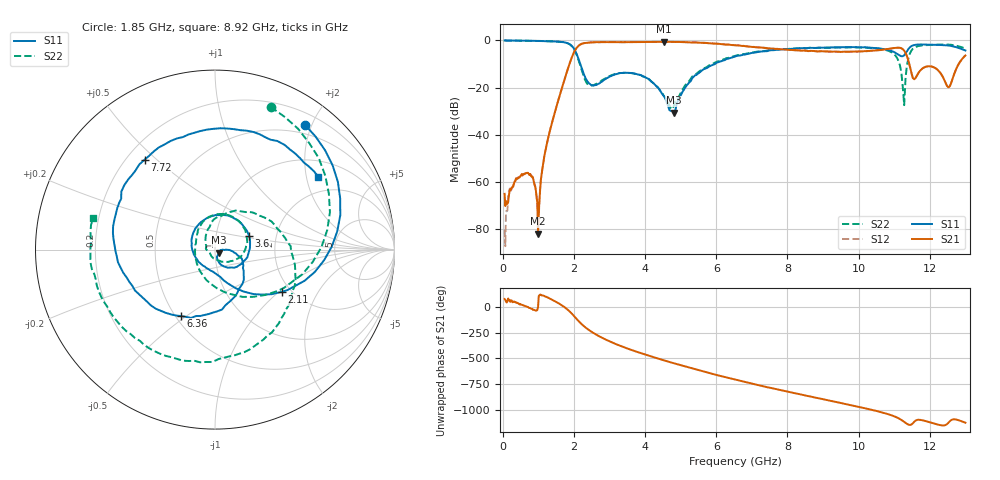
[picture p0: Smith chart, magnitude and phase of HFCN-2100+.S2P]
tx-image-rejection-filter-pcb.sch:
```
<Qucs Schematic 0.0.20>
<Properties>
  <View=0,31,2924,1898,0.620923,0,360>
  <Grid=10,10,1>
  <DataSet=tx-image-rejection-filter-pcb.dat>
  <DataDisplay=tx-image-rejection-filter-pcb.dpl>
  <OpenDisplay=1>
  <Script=tx-image-rejection-filter-pcb.m>
  <RunScript=0>
  <showFrame=0>
  <FrameText0=Title>
  <FrameText1=Drawn By:>
  <FrameText2=Date:>
  <FrameText3=Revision:>
</Properties>
<Symbol>
</Symbol>
<Components>
  <MLIN MS3 1 750 690 -26 -91 1 0 "FR4" 1 "0.32 mm" 1 "1 mm" 1 "Hammerstad" 0 "Kirschning" 0 "26.85" 0>
  <MLIN MS5 1 700 770 -95 -26 1 1 "FR4" 1 "0.32 mm" 1 "1.1 mm" 1 "Hammerstad" 0 "Kirschning" 0 "26.85" 0>
  <MLIN MS6 1 700 920 -95 -26 1 1 "FR4" 1 "0.32 mm" 1 "0.8 mm" 1 "Hammerstad" 0 "Kirschning" 0 "26.85" 0>
  <MLIN MS10 1 1510 690 -26 -91 1 0 "FR4" 1 "0.32 mm" 1 "1 mm" 1 "Hammerstad" 0 "Kirschning" 0 "26.85" 0>
  <MLIN MS12 1 1440 760 -95 -26 1 1 "FR4" 1 "0.32 mm" 1 "1.1 mm" 1 "Hammerstad" 0 "Kirschning" 0 "26.85" 0>
  <MLIN MS15 1 1220 690 -26 -91 1 0 "FR4" 1 "0.32 mm" 1 "1 mm" 1 "Hammerstad" 0 "Kirschning" 0 "26.85" 0>
  <MLIN MS16 1 1170 770 -95 -26 1 1 "FR4" 1 "0.32 mm" 1 "1.1mm" 1 "Hammerstad" 0 "Kirschning" 0 "26.85" 0>
  <L L2 1 1580 690 -26 10 0 0 "L1" 1 "" 0>
  <C C1 1 700 850 17 -26 0 1 "C1" 1 "" 0 "neutral" 0>
  <MLIN MS18 1 940 760 -95 -26 1 1 "FR4" 1 "0.32 mm" 1 "1.1 mm" 1 "Hammerstad" 0 "Kirschning" 0 "26.85" 0>
  <MVIA MS19 1 720 1030 20 0 0 0 "FR4" 1 "0.4 mm" 1 "26.85" 0>
  <MVIA MS20 1 960 1030 20 0 0 0 "FR4" 1 "0.4 mm" 1 "26.85" 0>
  <MVIA MS21 1 1190 1030 20 0 0 0 "FR4" 1 "0.4 mm" 1 "26.85" 0>
  <MVIA MS22 1 1460 1030 20 0 0 0 "FR4" 1 "0.4 mm" 1 "26.85" 0>
  <L L1 1 580 690 -26 10 0 0 "L1" 1 "" 0>
  <L L3 1 850 690 -26 10 0 0 "L2" 1 "" 0>
  <L L4 1 1080 690 -26 10 0 0 "L2" 1 "" 0>
  <L L5 1 1320 690 -26 10 0 0 "L2" 1 "" 0>
  <MLIN MS13 1 940 920 -95 -26 1 1 "FR4" 1 "0.32 mm" 1 "0.8 mm" 1 "Hammerstad" 0 "Kirschning" 0 "26.85" 0>
  <C C3 1 940 850 17 -26 0 1 "C2" 1 "" 0 "neutral" 0>
  <MLIN MS17 1 1170 930 -95 -26 1 1 "FR4" 1 "0.32 mm" 1 "0.8 mm" 1 "Hammerstad" 0 "Kirschning" 0 "26.85" 0>
  <C C4 1 1170 860 17 -26 0 1 "C2" 1 "" 0 "neutral" 0>
  <MLIN MS7 1 1440 930 -95 -26 1 1 "FR4" 1 "0.32 mm" 1 "0.8 mm" 1 "Hammerstad" 0 "Kirschning" 0 "26.85" 0>
  <C C2 1 1440 860 17 -26 0 1 "C1" 1 "" 0 "neutral" 0>
  <MLIN MS8 1 990 690 -26 -91 1 0 "FR4" 1 "0.32 mm" 1 "1 mm" 1 "Hammerstad" 0 "Kirschning" 0 "26.85" 0>
  <Eqn Eqn1 1 970 440 -28 15 0 0 "S21_dB=dB(S[2,1])" 1 "S11_dB=dB(S[1,1])" 1 "yes" 0>
  <.SP SP1 1 380 320 0 75 0 0 "log" 1 "100 MHz" 1 "3000 MHz" 1 "400" 1 "no" 0 "1" 0 "2" 0 "no" 0 "no" 0>
  <.Opt Opt1 0 760 330 0 38 0 0 "Sim=SP1" 0 "DE=8|700|2|50|0.85|1|3|1e-6|10|100" 0 "Var=L1|yes|3.86e-09|1e-9|20e-9|LIN_DOUBLE" 0 "Var=L2|yes|6.78e-09|1e-9|20e-9|LIN_DOUBLE" 0 "Var=C1|yes|1.57e-12|0.5e-12|3e-12|LIN_DOUBLE" 0 "Var=C2|yes|1.75e-12|0.5e-12|3e-12|LIN_DOUBLE" 0 "Goal=ripple|GE|-1" 0 "Goal=roll_off|LE|-28" 0>
  <Pac P2 1 1930 750 18 -26 0 1 "2" 1 "50 Ohm" 1 "-100 dBm" 0 "2220 MHz" 0 "26.85" 0>
  <GND *2 5 1930 820 0 0 0 0>
  <Eqn Eqn2 1 970 340 -31 15 0 0 "ripple=min(dB(S[2,1]), 2200e06:2290e06)" 1 "roll_off=max(dB(S[2,1]), 2600e06:2700e06)" 1 "yes" 0>
  <Pac P1 1 270 750 -94 -26 1 1 "1" 1 "50 Ohm" 1 "-10 dBm" 0 "2220 MHz" 0 "26.85" 0>
  <GND *1 5 270 820 0 0 0 0>
  <GND * 4 380 820 0 0 0 0>
  <MLIN MS1 1 500 690 -26 -91 1 0 "FR4" 1 "0.32 mm" 1 "1.3 mm" 1 "Hammerstad" 0 "Kirschning" 0 "26.85" 0>
  <SPfile X1 2 380 690 -26 -59 0 0 "HFCN-2100+.S2P" 0 "rectangular" 0 "linear" 0 "open" 0 "2" 0>
  <.SW SW3 1 950 60 0 61 0 0 "SW2" 1 "list" 1 "C2" 1 "5 Ohm" 0 "50 Ohm" 0 "[1.65pF;1.7pF;1.75pF]" 1>
  <Eqn OptValues4 0 1320 380 -28 15 0 0 "L1=3.8E-09" 1 "L2=6.8E-09" 1 "C1=1.5E-12" 1 "C2=1.7E-12" 1 "yes" 0>
  <.SW SW4 1 1230 60 0 61 0 0 "SW3" 1 "list" 1 "L2" 1 "5 Ohm" 0 "50 Ohm" 0 "[5.5 nH; 5.6nH; 5.7nH ]" 1>
  <.SW SW1 1 440 60 0 61 0 0 "SP1" 1 "list" 1 "L1" 1 "5 Ohm" 0 "50 Ohm" 0 "[2.6 nH; 2.7nH; 2.8nH ]" 1>
  <.SW SW2 1 690 60 0 61 0 0 "SW1" 1 "list" 1 "C1" 1 "5 Ohm" 0 "50 Ohm" 0 "[1.45pF;1.5pF;1.55pF]" 1>
  <SUBST FR4 1 620 360 -30 24 0 0 "4.3" 1 "0.18mm" 1 "0.035 mm" 1 "0.015" 1 "1.72e-8" 1 "0" 1>
  <MLIN MS11 1 1760 690 -26 -91 1 0 "FR4" 1 "0.32 mm" 1 "2.5 mm" 1 "Hammerstad" 0 "Kirschning" 0 "26.85" 0>
  <Eqn OptValues5 0 1450 380 -28 15 0 0 "L1=2.7E-09" 1 "L2=5.6E-09" 1 "C1=1.5E-12" 1 "C2=1.7E-12" 1 "yes" 0>
</Components>
<Wires>
  <700 880 700 890 "" 0 0 0 "">
  <700 800 700 820 "" 0 0 0 "">
  <700 950 700 1030 "" 0 0 0 "">
  <700 690 700 740 "" 0 0 0 "">
  <700 690 720 690 "" 0 0 0 "">
  <1440 690 1480 690 "" 0 0 0 "">
  <1440 690 1440 730 "" 0 0 0 "">
  <940 690 940 730 "" 0 0 0 "">
  <1170 690 1190 690 "" 0 0 0 "">
  <1170 690 1170 740 "" 0 0 0 "">
  <1540 690 1550 690 "" 0 0 0 "">
  <610 690 700 690 "" 0 0 0 "">
  <880 690 940 690 "" 0 0 0 "">
  <780 690 820 690 "" 0 0 0 "">
  <1110 690 1170 690 "" 0 0 0 "">
  <1350 690 1440 690 "" 0 0 0 "">
  <1250 690 1290 690 "" 0 0 0 "">
  <940 950 940 1030 "" 0 0 0 "">
  <940 790 940 820 "" 0 0 0 "">
  <940 880 940 890 "" 0 0 0 "">
  <1170 960 1170 1030 "" 0 0 0 "">
  <1170 800 1170 830 "" 0 0 0 "">
  <1170 890 1170 900 "" 0 0 0 "">
  <1440 960 1440 1030 "" 0 0 0 "">
  <1440 790 1440 830 "" 0 0 0 "">
  <1440 890 1440 900 "" 0 0 0 "">
  <1020 690 1050 690 "" 0 0 0 "">
  <940 690 960 690 "" 0 0 0 "">
  <1930 780 1930 820 "" 0 0 0 "">
  <270 780 270 820 "" 0 0 0 "">
  <530 690 550 690 "" 0 0 0 "">
  <270 690 270 720 "" 0 0 0 "">
  <270 690 350 690 "" 0 0 0 "">
  <410 690 470 690 "" 0 0 0 "">
  <1930 690 1930 720 "" 0 0 0 "">
  <1790 690 1930 690 "" 0 0 0 "">
  <1610 690 1730 690 "" 0 0 0 "">
  <380 720 380 820 "" 0 0 0 "">
</Wires>
<Diagrams>
  <Rect 350 1453 887 293 3 #c0c0c0 1 00 0 1.8e+09 1e+08 2.8e+09 0 -40 5 5 1 -1 0.5 1 315 0 225 "" "" "" "">
	<"S11_dB" #0000ff 2 3 0 0 0>
	<"S21_dB" #ff0000 2 3 0 0 0>
	  <Mkr 2.61751e+09/2.6e-09/1.45e-12/1.65e-12/5.5e-09 915 -154 3 0 0>
	  <Mkr 2.20723e+09/2.6e-09/1.45e-12/1.65e-12/5.5e-09 81 -469 3 0 0>
	  <Mkr 2.30334e+09/2.6e-09/1.45e-12/1.65e-12/5.5e-09 536 -416 3 0 0>
  </Rect>
  <Rect 310 1822 905 282 3 #c0c0c0 1 00 1 0 0.2 1 1 -0.1 0.5 1.1 1 -0.1 0.5 1.1 315 0 225 "" "" "" "">
	<"S21_dB" #aa0000 2 3 0 0 0>
	  <Mkr 2.18849e+09/2.6e-09/1.45e-12/1.65e-12/5.5e-09 412 -178 3 0 0>
	  <Mkr 2.30334e+09/2.6e-09/1.45e-12/1.65e-12/5.5e-09 548 -127 3 0 0>
	  <Mkr 2.59529e+09/2.6e-09/1.45e-12/1.65e-12/5.5e-09 969 -307 3 0 0>
	  <Mkr 2.80224e+09/2.6e-09/1.45e-12/1.65e-12/5.5e-09 993 -103 3 0 0>
  </Rect>
  <Tab 1350 1251 254 51 3 #c0c0c0 1 00 1 0 1 1 1 0 1 1 1 0 1 1 315 0 225 "" "" "" "">
	<"ripple" #0000ff 0 3 1 0 0>
	<"roll_off" #0000ff 0 3 1 0 0>
  </Tab>
</Diagrams>
<Paintings>
  <Text 740 410 12 #000000 0 "Filter in final board">
  <Text 1370 530 12 #000000 0 "L2 = 3.8E-09">
</Paintings>
```
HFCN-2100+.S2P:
! Mini-Circuits
! S2P DATA File Format
! Type: High Pass LTCC Surface Mount Filter
! Model: HFCN-2100+
! Note: All S Parameters are in dB deg format
! TEST CONDITIONS: INPUT POWER = 0dBm @Temperature = +25degC
! 401 Frequency points
# MHz S DB R 50
!  FREQ  dB(S11)  PHS(S11)  dB(S21)  PHS(S21)  dB(S12)  PHS(S12)  dB(S22)  PHS(S22)
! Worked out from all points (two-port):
!   401 points, 50 MHz to 13 GHz, reference 50 ohm
!   highest |S21| = -0.56 dB at 4.52 GHz (marker M1); lowest = -81.9 dB at 990 MHz (marker M2)
!   |S21| within 3 dB of the highest: 2.054 GHz to 7.632 GHz (5.577 GHz wide, 115 % of centre); 10.84 GHz to 11.23 GHz (391 MHz wide, 3.54 % of centre)
!   lowest |S11| = -30.6 dB at 4.8 GHz (marker M3), VSWR 1.06, Z = 52.4 - j1.82 ohm
!   |S11| at or under -10 dB: 2.177 GHz to 5.959 GHz (3.782 GHz wide, 93 % of centre)
!   |S22| runs from -29.2 to 0.0 dB; largest |S21 - S12| = 0.008
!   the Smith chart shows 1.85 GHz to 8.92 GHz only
!   S11 on the Smith chart (normalised r, x): 1.85 GHz: 0.36, +1.90; 2.11 GHz: 1.80, -1.05; 3.6 GHz: 1.44, +0.24; 6.36 GHz: 0.53, -0.48; 7.72 GHz: 0.27, +0.46; 8.92 GHz: 1.46, +2.35
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50  0.01 -6.8  -65.00 76.6  -80.09 135.7  -0.01 -6.1
990  -0.21 -138.4  -81.94 -1.6  -75.69 -12.9  -0.19 -127.8
1850  -1.34 54.3  -10.99 -35.8  -10.96 -35.8  -1.38 68.7
2110  -7.11 -32.2  -2.47 -131.4  -2.49 -131.4  -7.55 -33.3
3600  -13.77 22.4  -0.69 -57.9  -0.65 -57.9  -13.82 41.2
4520  -23.45 -72.1  -0.56 -160.0  -0.55 -160.0  -23.46 -68.0
4800  -30.64 -36.1  -0.59 170.9  -0.60 171.0  -28.06 -163.2
6360  -7.61 -117.2  -1.81 25.8  -1.75 25.8  -7.26 -4.4
6560  -6.63 -135.0  -2.08 9.0  -2.05 9.1  -6.37 -20.9
7720  -3.93 128.1  -3.57 -84.3  -3.55 -84.1  -3.81 -109.5
8920  -3.05 35.2  -4.56 -173.3  -4.61 -173.0  -3.10 165.7
13000  -4.24 -50.0  -6.37 -48.2  -6.41 -48.7  -3.42 164.0
